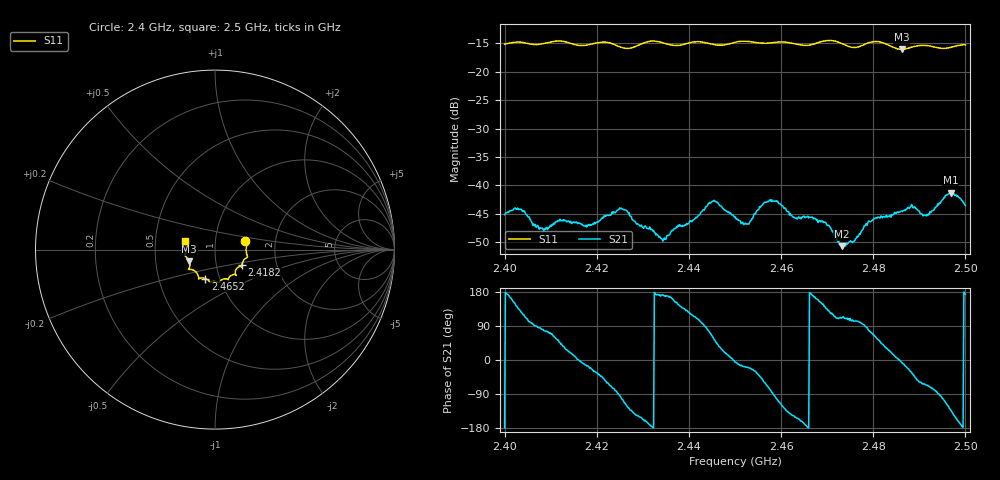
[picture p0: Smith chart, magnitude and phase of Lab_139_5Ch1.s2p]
# Hz S RI R 50
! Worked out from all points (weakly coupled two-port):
!   601 points, 2.4 GHz to 2.5 GHz, reference 50 ohm
!   highest |S21| = -41.30 dB at 2.4968 GHz (marker M1); lowest = -50.7 dB at 2.4732 GHz (marker M2)
!   lowest |S11| = -16.1 dB at 2.4862 GHz (marker M3), VSWR 1.37, Z = 37.2 - j4.89 ohm
!   |S11| at or under -10 dB: start of sweep to end of sweep
!   S12 and S22 are empty: the file has one direction only
!   S11 on the Smith chart (normalised r, x): 2.4 GHz: 1.40, +0.14; 2.4182 GHz: 1.33, -0.23; 2.4652 GHz: 0.85, -0.28; 2.5 GHz: 0.71, +0.07
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2.4e9  0.1679 0.0471  -0.00554 -6.14e-05  0 0  0 0
2.403333e9  0.1793 0.0308  -0.00409 0.00461  0 0  0 0
2.408e9  0.1743 -0.0152  0.000666 0.00416  0 0  0 0
2.416667e9  0.1553 -0.0682  0.0045 -0.000494  0 0  0 0
2.418167e9  0.1498 -0.0849  0.00427 -0.00128  0 0  0 0
2.4255e9  0.1303 -0.0974  -0.00151 -0.00603  0 0  0 0
2.433333e9  0.1172 -0.1415  -0.0036 0.000463  0 0  0 0
2.434667e9  0.1112 -0.1388  -0.0034 0.000621  0 0  0 0
2.445e9  0.0624 -0.1627  0.00317 0.00649  0 0  0 0
2.45e9  0.0258 -0.1795  0.00531 -0.000538  0 0  0 0
2.452667e9  0.0194 -0.1836  0.00431 -0.00153  0 0  0 0
2.458e9  -0.0166 -0.1785  0.000596 -0.00744  0 0  0 0
2.465167e9  -0.0545 -0.1612  -0.00514 -0.000865  0 0  0 0
2.466667e9  -0.0708 -0.1578  -0.00524 0.000669  0 0  0 0
2.47e9  -0.0909 -0.1642  -0.00313 0.00315  0 0  0 0
2.473167e9  -0.0919 -0.1511  -0.00104 0.00274  0 0  0 0
2.4795e9  -0.1446 -0.1104  0.00137 0.00462  0 0  0 0
2.483333e9  -0.1413 -0.0966  0.00481 0.0023  0 0  0 0
2.486167e9  -0.1434 -0.0642  0.00591 -0.000668  0 0  0 0
2.491667e9  -0.1671 -0.0298  0.00225 -0.00509  0 0  0 0
2.496833e9  -0.1618 0.0244  -0.00578 -0.00638  0 0  0 0
2.5e9  -0.1658 0.0471  -0.00661 0.000727  0 0  0 0
